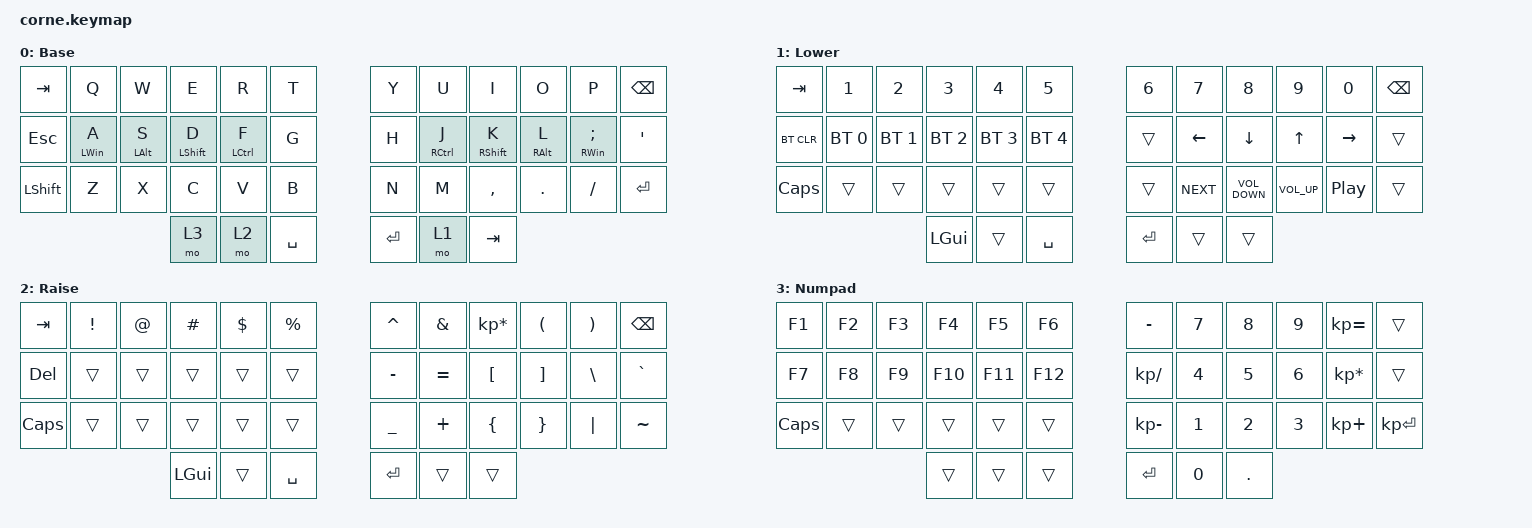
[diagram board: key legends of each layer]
/*
 * Copyright (c) 2020 The ZMK Contributors
 *
 * SPDX-License-Identifier: MIT
 */

#include <behaviors.dtsi>
#include <dt-bindings/zmk/bt.h>
#include <dt-bindings/zmk/keys.h>

/ {
    behaviors {
        ht: hold_tap {
            compatible = "zmk,behavior-hold-tap";
            label = "HT";
            bindings = <&kp>, <&kp>;

            #binding-cells = <2>;
            tapping-term-ms = <250>;
            require-prior-idle-ms = <125>;
            flavor = "balanced";
        };

        htlayer: htlayer {
            compatible = "zmk,behavior-hold-tap";
            label = "HTLAYER";
            bindings = <&mo>, <&kp>;

            #binding-cells = <2>;
            tapping-term-ms = <250>;
            require-prior-idle-ms = <125>;
            flavor = "tap-preferred";
        };
    };

    combos {
        compatible = "zmk,combos";

        CtrlAltDel {
            bindings = <&kp LC(LA(DEL))>;
            key-positions = <12 0>;
        };

        undo {
            bindings = <&kp LC(Z)>;
            key-positions = <24 25>;
        };

        cut {
            bindings = <&kp LC(X)>;
            key-positions = <25 26>;
        };

        copy {
            bindings = <&kp LC(C)>;
            key-positions = <26 27>;
        };

        paste {
            bindings = <&kp LC(V)>;
            key-positions = <27 28>;
        };
    };

    keymap {
        compatible = "zmk,keymap";

        QWERTY {
            // -----------------------------------------------------------------------------------------
            // |  TAB |  Q  |  W  |  E  |  R  |  T  |   |  Y  |  U   |  I  |  O  |  P  | BKSP |
            // | CTRL |  A  |  S  |  D  |  F  |  G  |   |  H  |  J   |  K  |  L  |  ;  |  '   |
            // | SHFT |  Z  |  X  |  C  |  V  |  B  |   |  N  |  M   |  ,  |  .  |  /  | ESC  |
            //                    | GUI | LWR | SPC |   | ENT | RSE  | ALT |

            display-name = "Base";
            bindings = <
&kp TAB    &kp Q           &kp W           &kp E             &kp R        &kp T        &kp Y    &kp U        &kp I              &kp O            &kp P               &kp BSPC
&kp ESC    &ht LEFT_WIN A  &ht LEFT_ALT S  &ht LEFT_SHIFT D  &ht LCTRL F  &kp G        &kp H    &ht RCTRL J  &ht RIGHT_SHIFT K  &ht RIGHT_ALT L  &ht RIGHT_WIN SEMI  &kp SQT
&kp LSHFT  &kp Z           &kp X           &kp C             &kp V        &kp B        &kp N    &kp M        &kp COMMA          &kp DOT          &kp FSLH            &kp ENTER
                                           &mo 3             &mo 2        &kp SPACE    &kp RET  &mo 1        &kp TAB
            >;
        };

        NavMediaBT {
            // -----------------------------------------------------------------------------------------
            // |  TAB |  1  |  2  |  3  |  4  |  5  |   |  6  |  7  |  8  |  9  |  0  | BKSP |
            // | BTCLR| BT1 | BT2 | BT3 | BT4 | BT5 |   | LFT | DWN |  UP | RGT |     |      |
            // | SHFT |     |     |     |     |     |   |     |     |     |     |     |      |
            //                    | GUI |     | SPC |   | ENT |     | ALT |

            display-name = "Lower";
            bindings = <
&kp TAB     &kp N1        &kp N2        &kp N3        &kp N4        &kp N5          &kp N6   &kp N7      &kp N8             &kp N9           &kp N0            &kp BSPC
&bt BT_CLR  &bt BT_SEL 0  &bt BT_SEL 1  &bt BT_SEL 2  &bt BT_SEL 3  &bt BT_SEL 4    &trans   &kp LEFT    &kp DOWN           &kp UP           &kp RIGHT         &trans
&kp CAPS    &trans        &trans        &trans        &trans        &trans          &trans   &kp C_NEXT  &kp C_VOLUME_DOWN  &kp C_VOLUME_UP  &kp C_PLAY_PAUSE  &trans
                                        &kp LGUI      &trans        &kp SPACE       &kp RET  &trans      &trans
            >;
        };

        raise_layer {
            // -----------------------------------------------------------------------------------------
            // |  TAB |  !  |  @  |  #  |  $  |  %  |   |  ^  |  &  |  *  |  (  |  )  | BKSP |
            // | CTRL |     |     |     |     |     |   |  -  |  =  |  [  |  ]  |  \  |  `   |
            // | SHFT |     |     |     |     |     |   |  _  |  +  |  {  |  }  | "|" |  ~   |
            //                    | GUI |     | SPC |   | ENT |     | ALT |

            display-name = "Raise";
            bindings = <
&kp TAB   &kp EXCL  &kp AT  &kp HASH  &kp DLLR  &kp PRCNT    &kp CARET  &kp AMPS   &kp KP_MULTIPLY  &kp LPAR  &kp RPAR  &kp BSPC
&kp DEL   &trans    &trans  &trans    &trans    &trans       &kp MINUS  &kp EQUAL  &kp LBKT         &kp RBKT  &kp BSLH  &kp GRAVE
&kp CAPS  &trans    &trans  &trans    &trans    &trans       &kp UNDER  &kp PLUS   &kp LBRC         &kp RBRC  &kp PIPE  &kp TILDE
                            &kp LGUI  &trans    &kp SPACE    &kp RET    &trans     &trans
            >;
        };

        Numpad {
            bindings = <
&kp F1    &kp F2  &kp F3  &kp F4   &kp F5   &kp F6     &kp MINUS      &kp N7  &kp N8   &kp N9  &kp KP_EQUAL     &trans
&kp F7    &kp F8  &kp F9  &kp F10  &kp F11  &kp F12    &kp KP_DIVIDE  &kp N4  &kp N5   &kp N6  &kp KP_MULTIPLY  &trans
&kp CAPS  &trans  &trans  &trans   &trans   &trans     &kp KP_MINUS   &kp N1  &kp N2   &kp N3  &kp KP_PLUS      &kp KP_ENTER
                          &trans   &trans   &trans     &kp ENTER      &kp N0  &kp DOT
            >;
        };
    };
};
